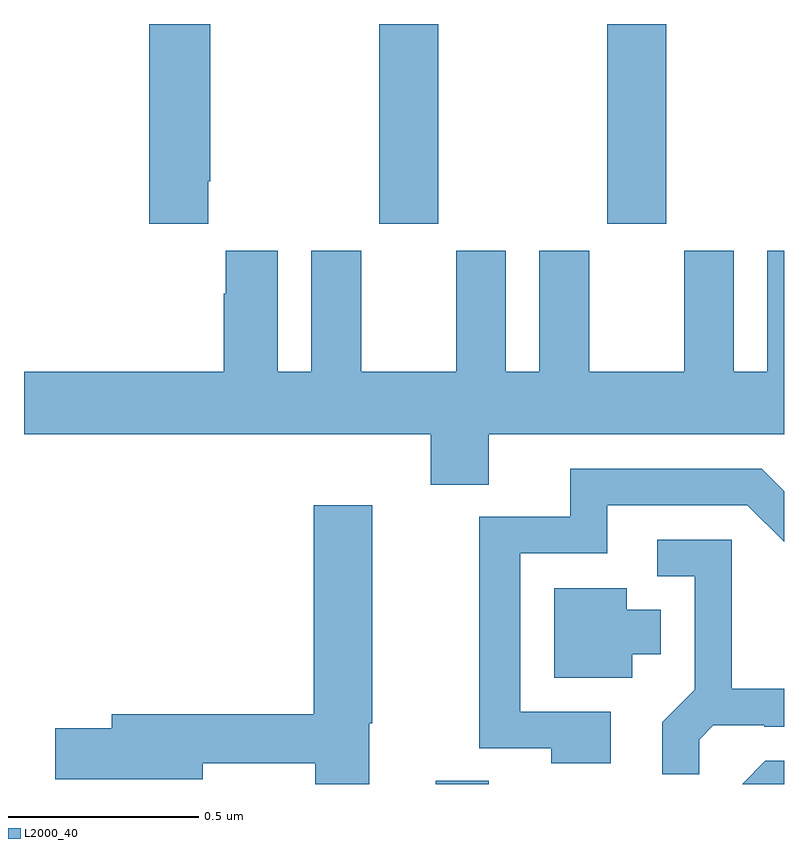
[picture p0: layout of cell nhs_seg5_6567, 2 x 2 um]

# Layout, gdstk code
import gdstk
lib = gdstk.Library(unit=1e-6, precision=1e-09)
def R(c, l, rs):  # rectangles x0, y0, x1, y1
    for r in rs: c.add(gdstk.rectangle(r[:2], r[2:], *l))
def P(c, l, *ps):  # polygons
    for p in ps: c.add(gdstk.Polygon(p, *l))
L2000_40 = (2000, 40)

nhs_seg5_6567 = lib.new_cell('nhs_seg5_6567')
R(nhs_seg5_6567, L2000_40, [(198.083,895.799,198.223,895.808), (197.935,897.273,198.09,897.799), (198.535,897.273,198.69,897.799)])
P(nhs_seg5_6567, L2000_40, [(197.485,897.385),(197.49,897.385),(197.49,897.799),(197.33,897.799),(197.33,897.273),(197.485,897.273)],
  [(199,897.202),(198.956,897.202),(198.956,896.884),(198.868,896.884),(198.868,897.202),(198.737,897.202),(198.737,896.884),(198.487,896.884),(198.487,897.202),(198.356,897.202),(198.356,896.884),(198.268,896.884),(198.268,897.202),(198.137,897.202),(198.137,896.884),(197.887,896.884),(197.887,897.202),(197.756,897.202),(197.756,896.884),(197.668,896.884),(197.668,897.202),(197.531,897.202),(197.531,897.089),(197.525,897.089),(197.525,896.884),(197,896.884),(197,896.72),(198.071,896.72),(198.071,896.587),(198.223,896.587),(198.223,896.72),(199,896.72)],
  [(198.544,895.989),(198.306,895.989),(198.306,896.406),(198.535,896.406),(198.535,896.532),(198.903,896.532),(199,896.436),(199,896.57),(198.942,896.628),(198.437,896.628),(198.437,896.502),(198.198,896.502),(198.198,895.893),(198.388,895.893),(198.388,895.853),(198.544,895.853)],
  [(197.908,895.959),(197.916,895.959),(197.916,896.533),(197.762,896.533),(197.762,895.982),(197.231,895.982),(197.231,895.946),(197.082,895.946),(197.082,895.811),(197.47,895.811),(197.47,895.854),(197.767,895.854),(197.767,895.799),(197.908,895.799)],
  [(198.777,895.916),(198.814,895.953),(198.948,895.953),(198.948,895.95),(199,895.95),(199,896.05),(198.863,896.05),(198.863,896.442),(198.666,896.442),(198.666,896.346),(198.765,896.346),(198.765,896.047),(198.679,895.961),(198.679,895.825),(198.777,895.825)],
  [(198.601,896.141),(198.676,896.141),(198.676,896.257),(198.586,896.257),(198.586,896.314),(198.395,896.314),(198.395,896.078),(198.601,896.078)],
  [(199,895.86),(198.951,895.86),(198.89,895.799),(199,895.799)])

lib.write_gds('nhs_seg5_6567.gds')
